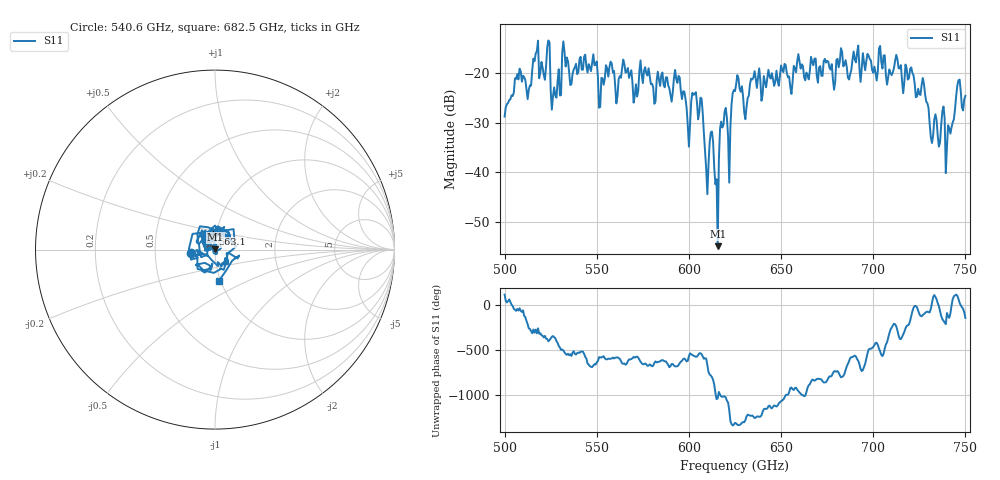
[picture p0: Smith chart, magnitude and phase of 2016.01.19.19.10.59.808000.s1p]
!Created with skrf (http://scikit-rf.org).
# GHz S RI R 50.0
!freq ReS11 ImS11
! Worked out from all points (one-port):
!   401 points, 500 GHz to 750 GHz, reference 50 ohm
!   lowest |S11| = -54.9 dB at 615.6 GHz (marker M1), VSWR 1.00, Z = 50.1 + j0.119 ohm
!   |S11| at or under -10 dB: start of sweep to end of sweep
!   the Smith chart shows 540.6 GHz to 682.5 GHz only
!   S11 on the Smith chart (normalised r, x): 540.6 GHz: 0.76, -0.03; 563.1 GHz: 0.96, +0.17; 682.5 GHz: 0.98, -0.36
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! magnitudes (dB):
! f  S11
! 500 GHz  -28.8
! 507.5 GHz  -21.3
! 513.1 GHz  -23.4
! 516.9 GHz  -16.1
! 523.8 GHz  -13.5
! 526.9 GHz  -22.9
! 531.2 GHz  -15.9
! 540.6 GHz  -17.3
! 562.5 GHz  -20.7
! 563.1 GHz  -21.0
! 593.8 GHz  -22.0
! 599.4 GHz  -30.5
! 602.5 GHz  -24.4
! 606.9 GHz  -25.2
! 609.4 GHz  -39.4
! 612.5 GHz  -31.8
! 615.6 GHz  -54.9
! 618.1 GHz  -31.0
! 621.9 GHz  -42.1
! 625 GHz  -23.7
! 631.2 GHz  -26.9
! 656.2 GHz  -21.8
! 682.5 GHz  -15.0
! 687.5 GHz  -20.3
! 718.8 GHz  -21.4
! 740.6 GHz  -30.5
! 746.2 GHz  -21.5
! 750 GHz  -24.6
